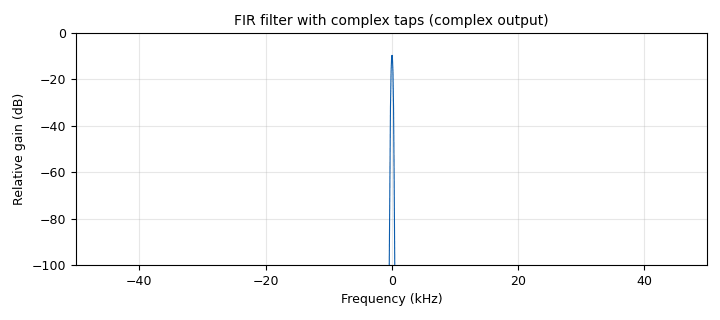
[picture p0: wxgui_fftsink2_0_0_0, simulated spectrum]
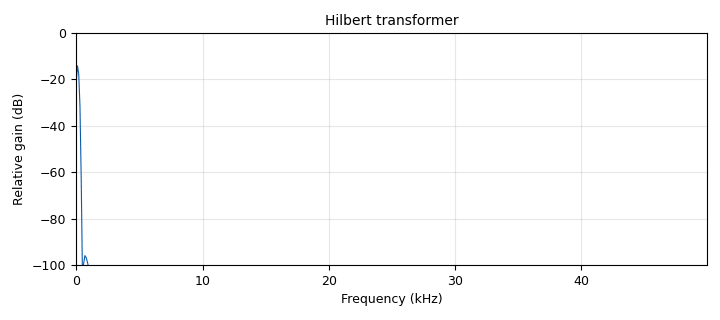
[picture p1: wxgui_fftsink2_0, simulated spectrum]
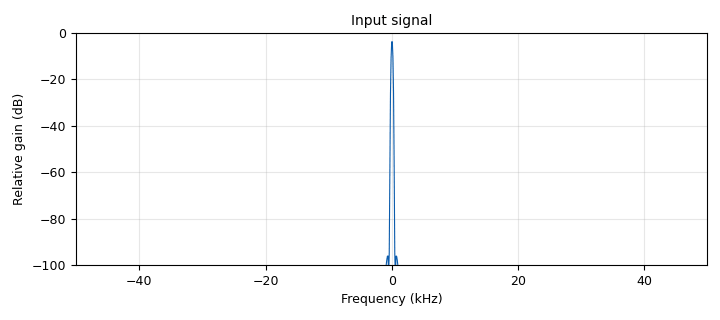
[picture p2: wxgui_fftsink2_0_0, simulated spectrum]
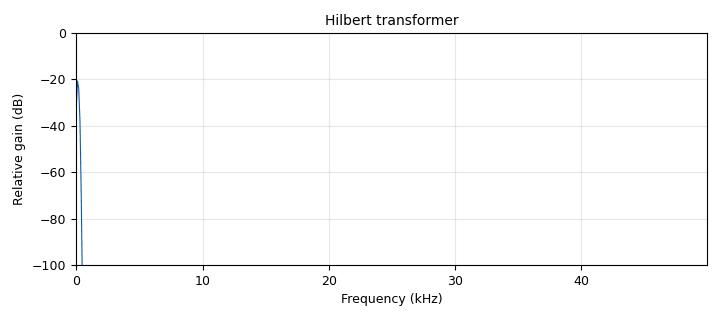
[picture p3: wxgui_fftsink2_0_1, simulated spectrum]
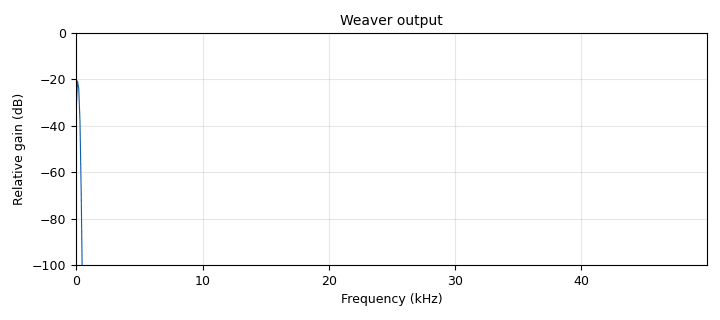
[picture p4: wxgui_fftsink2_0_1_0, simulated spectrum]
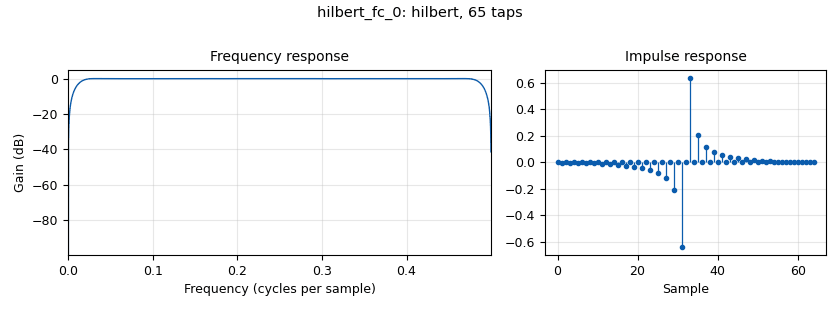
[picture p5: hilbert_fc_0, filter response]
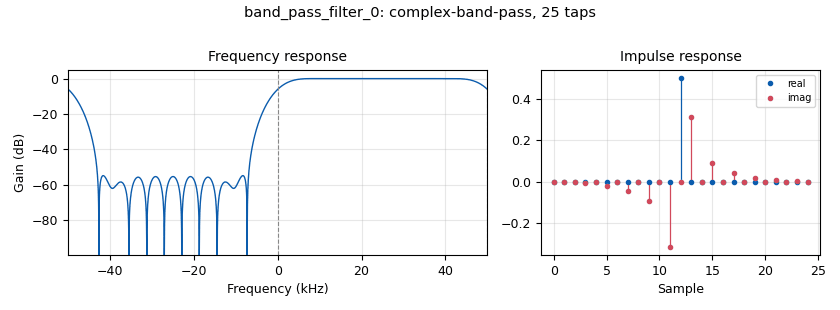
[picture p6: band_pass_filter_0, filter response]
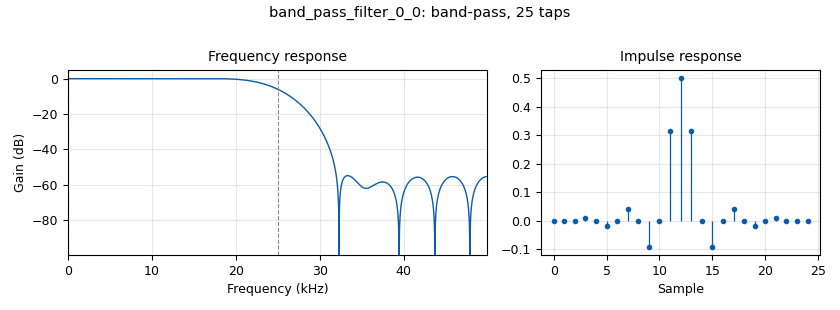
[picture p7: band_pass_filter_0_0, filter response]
<?xml version='1.0' encoding='utf-8'?>
<?grc format='1' created='3.7.5'?>
<flow_graph>
<block>
<key>options</key>
<param><key>id</key><value>top_block</value></param>
<param><key>generate_options</key><value>wx_gui</value></param>
<param><key>category</key><value>Custom</value></param>
</block>
<block>
<key>variable</key>
<param><key>id</key><value>samp_rate</value></param>
<param><key>value</key><value>100e3</value></param>
</block>
<block>
<key>wxgui_fftsink2</key>
<param><key>id</key><value>wxgui_fftsink2_0_0_0</value></param>
<param><key>type</key><value>complex</value></param>
<param><key>title</key><value>FIR filter with complex taps (complex output)</value></param>
<param><key>samp_rate</key><value>samp_rate</value></param>
<param><key>baseband_freq</key><value>0</value></param>
<param><key>y_per_div</key><value>10</value></param>
<param><key>y_divs</key><value>10</value></param>
<param><key>ref_level</key><value>0</value></param>
<param><key>ref_scale</key><value>2.0</value></param>
<param><key>fft_size</key><value>1024</value></param>
<param><key>fft_rate</key><value>15</value></param>
<param><key>peak_hold</key><value>False</value></param>
<param><key>average</key><value>False</value></param>
<param><key>avg_alpha</key><value>0</value></param>
<param><key>win</key><value>None</value></param>
<param><key>notebook</key><value>nb0,2</value></param>
<param><key>freqvar</key><value>None</value></param>
</block>
<block>
<key>blocks_complex_to_float</key>
<param><key>id</key><value>blocks_complex_to_float_0</value></param>
</block>
<block>
<key>hilbert_fc</key>
<param><key>id</key><value>hilbert_fc_0</value></param>
<param><key>num_taps</key><value>65</value></param>
<param><key>win</key><value>firdes.WIN_HAMMING</value></param>
</block>
<block>
<key>blocks_null_sink</key>
<param><key>id</key><value>blocks_null_sink_0</value></param>
<param><key>type</key><value>float</value></param>
<param><key>bus_conns</key><value>[[0,],]</value></param>
</block>
<block>
<key>wxgui_fftsink2</key>
<param><key>id</key><value>wxgui_fftsink2_0</value></param>
<param><key>type</key><value>float</value></param>
<param><key>title</key><value>Hilbert transformer</value></param>
<param><key>samp_rate</key><value>samp_rate</value></param>
<param><key>baseband_freq</key><value>0</value></param>
<param><key>y_per_div</key><value>10</value></param>
<param><key>y_divs</key><value>10</value></param>
<param><key>ref_level</key><value>0</value></param>
<param><key>ref_scale</key><value>2.0</value></param>
<param><key>fft_size</key><value>1024</value></param>
<param><key>fft_rate</key><value>15</value></param>
<param><key>peak_hold</key><value>False</value></param>
<param><key>average</key><value>False</value></param>
<param><key>avg_alpha</key><value>0</value></param>
<param><key>win</key><value>None</value></param>
<param><key>notebook</key><value>nb0,0</value></param>
<param><key>freqvar</key><value>None</value></param>
</block>
<block>
<key>blocks_complex_to_float</key>
<param><key>id</key><value>blocks_complex_to_float_0_0</value></param>
</block>
<block>
<key>blocks_sub_xx</key>
<param><key>id</key><value>blocks_sub_xx_0</value></param>
<param><key>type</key><value>float</value></param>
</block>
<block>
<key>blocks_delay</key>
<param><key>id</key><value>blocks_delay_0</value></param>
<param><key>type</key><value>float</value></param>
<param><key>delay</key><value>65/2</value></param>
</block>
<block>
<key>blocks_throttle</key>
<param><key>id</key><value>blocks_throttle_0</value></param>
<param><key>type</key><value>complex</value></param>
<param><key>samples_per_second</key><value>samp_rate</value></param>
</block>
<block>
<key>band_pass_filter</key>
<param><key>id</key><value>band_pass_filter_0</value></param>
<param><key>type</key><value>fir_filter_ccc</value></param>
<param><key>decim</key><value>1</value></param>
<param><key>gain</key><value>1</value></param>
<param><key>samp_rate</key><value>samp_rate</value></param>
<param><key>low_cutoff_freq</key><value>0</value></param>
<param><key>high_cutoff_freq</key><value>samp_rate/2-1</value></param>
<param><key>width</key><value>0.1*samp_rate</value></param>
<param><key>win</key><value>firdes.WIN_HAMMING</value></param>
</block>
<block>
<key>wxgui_fftsink2</key>
<param><key>id</key><value>wxgui_fftsink2_0_0</value></param>
<param><key>type</key><value>complex</value></param>
<param><key>title</key><value>Input signal</value></param>
<param><key>samp_rate</key><value>samp_rate</value></param>
<param><key>baseband_freq</key><value>0</value></param>
<param><key>y_per_div</key><value>10</value></param>
<param><key>y_divs</key><value>10</value></param>
<param><key>ref_level</key><value>0</value></param>
<param><key>ref_scale</key><value>2.0</value></param>
<param><key>fft_size</key><value>1024</value></param>
<param><key>fft_rate</key><value>15</value></param>
<param><key>peak_hold</key><value>False</value></param>
<param><key>average</key><value>False</value></param>
<param><key>avg_alpha</key><value>0</value></param>
<param><key>win</key><value>None</value></param>
<param><key>freqvar</key><value>None</value></param>
</block>
<block>
<key>wxgui_fftsink2</key>
<param><key>id</key><value>wxgui_fftsink2_0_1</value></param>
<param><key>type</key><value>float</value></param>
<param><key>title</key><value>Hilbert transformer</value></param>
<param><key>samp_rate</key><value>samp_rate</value></param>
<param><key>baseband_freq</key><value>0</value></param>
<param><key>y_per_div</key><value>10</value></param>
<param><key>y_divs</key><value>10</value></param>
<param><key>ref_level</key><value>0</value></param>
<param><key>ref_scale</key><value>2.0</value></param>
<param><key>fft_size</key><value>1024</value></param>
<param><key>fft_rate</key><value>15</value></param>
<param><key>peak_hold</key><value>False</value></param>
<param><key>average</key><value>False</value></param>
<param><key>avg_alpha</key><value>0</value></param>
<param><key>win</key><value>None</value></param>
<param><key>notebook</key><value>nb0,1</value></param>
<param><key>freqvar</key><value>None</value></param>
</block>
<block>
<key>blocks_complex_to_real</key>
<param><key>id</key><value>blocks_complex_to_real_0</value></param>
</block>
<block>
<key>blocks_complex_to_real</key>
<param><key>id</key><value>blocks_complex_to_real_0_0</value></param>
</block>
<block>
<key>wxgui_fftsink2</key>
<param><key>id</key><value>wxgui_fftsink2_0_1_0</value></param>
<param><key>type</key><value>float</value></param>
<param><key>title</key><value>Weaver output</value></param>
<param><key>samp_rate</key><value>samp_rate</value></param>
<param><key>baseband_freq</key><value>0</value></param>
<param><key>y_per_div</key><value>10</value></param>
<param><key>y_divs</key><value>10</value></param>
<param><key>ref_level</key><value>0</value></param>
<param><key>ref_scale</key><value>2.0</value></param>
<param><key>fft_size</key><value>1024</value></param>
<param><key>fft_rate</key><value>15</value></param>
<param><key>peak_hold</key><value>False</value></param>
<param><key>average</key><value>False</value></param>
<param><key>avg_alpha</key><value>0</value></param>
<param><key>win</key><value>None</value></param>
<param><key>notebook</key><value>nb0,3</value></param>
<param><key>freqvar</key><value>None</value></param>
</block>
<block>
<key>freq_xlating_fir_filter_xxx</key>
<param><key>id</key><value>freq_xlating_fir_filter_xxx_0</value></param>
<param><key>type</key><value>ccc</value></param>
<param><key>decim</key><value>1</value></param>
<param><key>taps</key><value>[1]</value></param>
<param><key>center_freq</key><value>samp_rate/4</value></param>
<param><key>samp_rate</key><value>samp_rate</value></param>
</block>
<block>
<key>freq_xlating_fir_filter_xxx</key>
<param><key>id</key><value>freq_xlating_fir_filter_xxx_0_0</value></param>
<param><key>type</key><value>ccc</value></param>
<param><key>decim</key><value>1</value></param>
<param><key>taps</key><value>[1]</value></param>
<param><key>center_freq</key><value>-samp_rate/4</value></param>
<param><key>samp_rate</key><value>samp_rate</value></param>
</block>
<block>
<key>band_pass_filter</key>
<param><key>id</key><value>band_pass_filter_0_0</value></param>
<param><key>type</key><value>fir_filter_ccf</value></param>
<param><key>decim</key><value>1</value></param>
<param><key>gain</key><value>1</value></param>
<param><key>samp_rate</key><value>samp_rate</value></param>
<param><key>low_cutoff_freq</key><value>1</value></param>
<param><key>high_cutoff_freq</key><value>samp_rate/4</value></param>
<param><key>width</key><value>0.1*samp_rate</value></param>
<param><key>win</key><value>firdes.WIN_HAMMING</value></param>
<param><key>beta</key><value>6.77</value></param>
</block>
<block>
<key>variable_slider</key>
<param><key>id</key><value>freq</value></param>
<param><key>label</key><value></value></param>
<param><key>value</key><value>50</value></param>
<param><key>min</key><value>-samp_rate/2</value></param>
<param><key>max</key><value>samp_rate/2</value></param>
<param><key>num_steps</key><value>100</value></param>
<param><key>style</key><value>wx.SL_HORIZONTAL</value></param>
<param><key>converver</key><value>float_converter</value></param>
</block>
<block>
<key>analog_sig_source_x</key>
<param><key>id</key><value>analog_sig_source_x_0</value></param>
<param><key>type</key><value>complex</value></param>
<param><key>samp_rate</key><value>samp_rate</value></param>
<param><key>waveform</key><value>analog.GR_COS_WAVE</value></param>
<param><key>freq</key><value>freq</value></param>
<param><key>amp</key><value>1</value></param>
<param><key>offset</key><value>0</value></param>
</block>
<block>
<key>notebook</key>
<param><key>id</key><value>nb0</value></param>
<param><key>style</key><value>wx.NB_TOP</value></param>
<param><key>labels</key><value>['Hilbert', 'Complex FIR (cf)','Complex FIR (cc)','Weaver method']</value></param>
</block>
<connection><source_block_id>analog_sig_source_x_0</source_block_id><sink_block_id>blocks_throttle_0</sink_block_id><source_key>0</source_key><sink_key>0</sink_key></connection>
<connection><source_block_id>blocks_throttle_0</source_block_id><sink_block_id>wxgui_fftsink2_0_0</sink_block_id><source_key>0</source_key><sink_key>0</sink_key></connection>
<connection><source_block_id>blocks_throttle_0</source_block_id><sink_block_id>blocks_complex_to_float_0</sink_block_id><source_key>0</source_key><sink_key>0</sink_key></connection>
<connection><source_block_id>band_pass_filter_0</source_block_id><sink_block_id>wxgui_fftsink2_0_0_0</sink_block_id><source_key>0</source_key><sink_key>0</sink_key></connection>
<connection><source_block_id>blocks_throttle_0</source_block_id><sink_block_id>band_pass_filter_0</sink_block_id><source_key>0</source_key><sink_key>0</sink_key></connection>
<connection><source_block_id>hilbert_fc_0</source_block_id><sink_block_id>blocks_complex_to_float_0_0</sink_block_id><source_key>0</source_key><sink_key>0</sink_key></connection>
<connection><source_block_id>blocks_sub_xx_0</source_block_id><sink_block_id>wxgui_fftsink2_0</sink_block_id><source_key>0</source_key><sink_key>0</sink_key></connection>
<connection><source_block_id>band_pass_filter_0</source_block_id><sink_block_id>blocks_complex_to_real_0</sink_block_id><source_key>0</source_key><sink_key>0</sink_key></connection>
<connection><source_block_id>blocks_complex_to_real_0</source_block_id><sink_block_id>wxgui_fftsink2_0_1</sink_block_id><source_key>0</source_key><sink_key>0</sink_key></connection>
<connection><source_block_id>blocks_complex_to_float_0</source_block_id><sink_block_id>blocks_delay_0</sink_block_id><source_key>0</source_key><sink_key>0</sink_key></connection>
<connection><source_block_id>blocks_complex_to_float_0</source_block_id><sink_block_id>hilbert_fc_0</sink_block_id><source_key>1</source_key><sink_key>0</sink_key></connection>
<connection><source_block_id>blocks_complex_to_float_0_0</source_block_id><sink_block_id>blocks_null_sink_0</sink_block_id><source_key>0</source_key><sink_key>0</sink_key></connection>
<connection><source_block_id>blocks_complex_to_float_0_0</source_block_id><sink_block_id>blocks_sub_xx_0</sink_block_id><source_key>1</source_key><sink_key>1</sink_key></connection>
<connection><source_block_id>blocks_delay_0</source_block_id><sink_block_id>blocks_sub_xx_0</sink_block_id><source_key>0</source_key><sink_key>0</sink_key></connection>
<connection><source_block_id>blocks_throttle_0</source_block_id><sink_block_id>freq_xlating_fir_filter_xxx_0</sink_block_id><source_key>0</source_key><sink_key>0</sink_key></connection>
<connection><source_block_id>freq_xlating_fir_filter_xxx_0</source_block_id><sink_block_id>band_pass_filter_0_0</sink_block_id><source_key>0</source_key><sink_key>0</sink_key></connection>
<connection><source_block_id>band_pass_filter_0_0</source_block_id><sink_block_id>freq_xlating_fir_filter_xxx_0_0</sink_block_id><source_key>0</source_key><sink_key>0</sink_key></connection>
<connection><source_block_id>blocks_complex_to_real_0_0</source_block_id><sink_block_id>wxgui_fftsink2_0_1_0</sink_block_id><source_key>0</source_key><sink_key>0</sink_key></connection>
<connection><source_block_id>freq_xlating_fir_filter_xxx_0_0</source_block_id><sink_block_id>blocks_complex_to_real_0_0</sink_block_id><source_key>0</source_key><sink_key>0</sink_key></connection>
</flow_graph>
